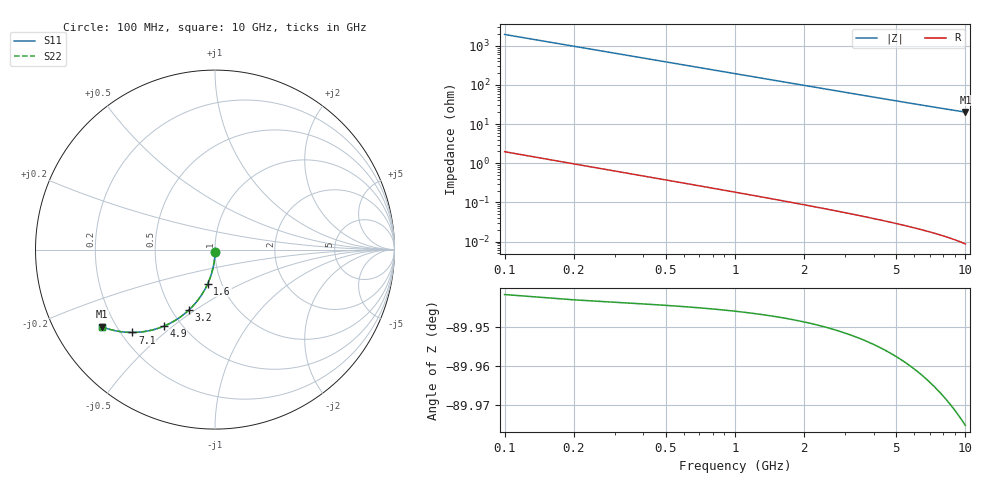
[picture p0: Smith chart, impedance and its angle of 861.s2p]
# Hz S RI R 50.00
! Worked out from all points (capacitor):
!   100 points, 100 MHz to 10 GHz, reference 50 ohm
!   read as one part in shunt: C = 820 fF near 100 MHz
!   lowest |Z| = 20.2 ohm at 10 GHz (marker M1)
!   S11 on the Smith chart (normalised r, x): 100 MHz: 1.00, -0.02; 1.6 GHz: 0.86, -0.34; 3.2 GHz: 0.61, -0.47; 4.9 GHz: 0.40, -0.46; 7.1 GHz: 0.25, -0.39; 10 GHz: 0.15, -0.30
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1e8  0.000309 -0.0124  0.9993 -0.0134  0.9993 -0.0134  0.000309 -0.0124
2e8  -0.000198 -0.0247  0.9988 -0.0268  0.9988 -0.0268  -0.000198 -0.0247
3e8  -0.00104 -0.0371  0.998 -0.0401  0.998 -0.0401  -0.00104 -0.0371
4e8  -0.0022 -0.0494  0.9968 -0.0534  0.9968 -0.0534  -0.0022 -0.0494
5e8  -0.0037 -0.0616  0.9953 -0.0667  0.9953 -0.0667  -0.0037 -0.0616
6e8  -0.00551 -0.0738  0.9935 -0.0799  0.9935 -0.0799  -0.00551 -0.0738
7e8  -0.00765 -0.0859  0.9913 -0.093  0.9913 -0.093  -0.00765 -0.0859
9e8  -0.0129 -0.1099  0.9861 -0.119  0.9861 -0.119  -0.0129 -0.1099
1.2e9  -0.023 -0.145  0.9759 -0.1571  0.9759 -0.1571  -0.023 -0.145
1.6e9  -0.0404 -0.1897  0.9584 -0.2059  0.9584 -0.2059  -0.0404 -0.1897
1.8e9  -0.0508 -0.2111  0.9481 -0.2293  0.9481 -0.2293  -0.0508 -0.2111
2.4e9  -0.0871 -0.2703  0.9115 -0.2946  0.9115 -0.2946  -0.0871 -0.2703
3.2e9  -0.1455 -0.3366  0.853 -0.3691  0.853 -0.3691  -0.1455 -0.3366
3.4e9  -0.1613 -0.3508  0.8371 -0.3853  0.8371 -0.3853  -0.1613 -0.3508
4.1e9  -0.219 -0.3928  0.7791 -0.4345  0.7791 -0.4345  -0.219 -0.3928
4.9e9  -0.2866 -0.4272  0.7111 -0.4771  0.7111 -0.4771  -0.2866 -0.4272
5.1e9  -0.3034 -0.4337  0.6942 -0.4856  0.6942 -0.4856  -0.3034 -0.4337
5.9e9  -0.369 -0.4523  0.6281 -0.5125  0.6281 -0.5125  -0.369 -0.4523
6.7e9  -0.4308 -0.4606  0.5657 -0.5291  0.5657 -0.5291  -0.4308 -0.4606
7.1e9  -0.4599 -0.4616  0.5363 -0.5343  0.5363 -0.5343  -0.4599 -0.4616
8.4e9  -0.5455 -0.4539  0.4496 -0.5403  0.4496 -0.5403  -0.5455 -0.4539
1e10  -0.632 -0.429  0.3615 -0.5325  0.3615 -0.5325  -0.632 -0.429
